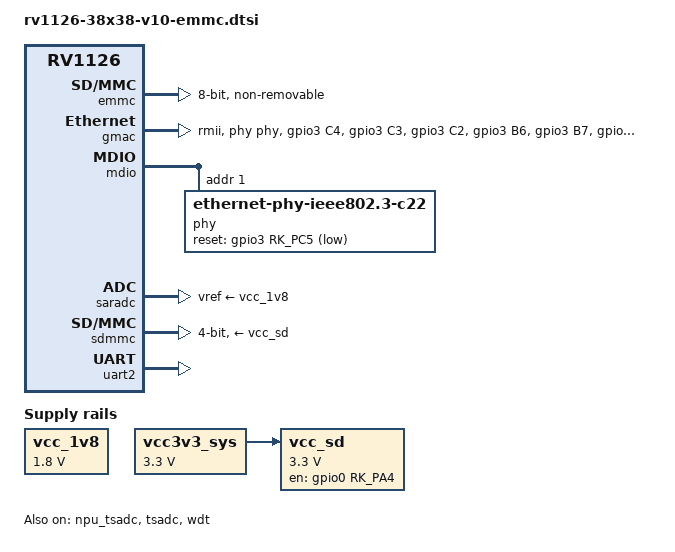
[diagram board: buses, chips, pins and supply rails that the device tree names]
// SPDX-License-Identifier: (GPL-2.0+ OR MIT)
/*
 * Copyright (c) 2020 Rockchip Electronics Co., Ltd.
 */

#include "rockchip/rv1126.dtsi"

/ {
	aliases {
		ethernet0 = &gmac;
		gpio0 = &gpio0;
		gpio1 = &gpio1;
		gpio2 = &gpio2;
		gpio3 = &gpio3;
		gpio4 = &gpio4;
		mmc0 = &emmc;
		mmc1 = &sdmmc;
	};

	chosen {
		bootargs = "earlycon=uart8250,mmio32,0xff570000 console=ttyS2,1500000 root=PARTUUID=614e0000-0000 rootwait";
		stdout-path = "serial2:1500000n8";
	};

	vcc_1v8: regulator-vcc-1v8 {
		compatible = "regulator-fixed";
		regulator-name = "vcc_1v8";
		regulator-always-on;
		regulator-boot-on;
		regulator-min-microvolt = <1800000>;
		regulator-max-microvolt = <1800000>;
	};

	vcc3v3_sys: regulator-vcc3v3-sys {
		compatible = "regulator-fixed";
		regulator-name = "vcc3v3_sys";
		regulator-always-on;
		regulator-boot-on;
		regulator-min-microvolt = <3300000>;
		regulator-max-microvolt = <3300000>;
	};

	vcc_sd: regulator-vcc-sd {
		compatible = "regulator-fixed";
		enable-active-high;
		gpios = <&gpio0 RK_PA4 GPIO_ACTIVE_HIGH>;
		pinctrl-names = "default";
		pinctrl-0 = <&sdmmc_pwr>;
		regulator-name = "vcc_sd";
		regulator-min-microvolt = <3300000>;
		regulator-max-microvolt = <3300000>;
		startup-delay-us = <100000>;
		vin-supply = <&vcc3v3_sys>;
	};
};

&emmc {
	bus-width = <8>;
	cap-mmc-highspeed;
	mmc-hs200-1_8v;
	non-removable;
	pinctrl-names = "default";
	pinctrl-0 = <&emmc_clk &emmc_cmd &emmc_bus8>;
	rockchip,default-sample-phase = <90>;
	status = "okay";
};

&gmac {
	assigned-clocks = <&cru CLK_GMAC_SRC_M0>, <&cru CLK_GMAC_SRC>,
			  <&cru CLK_GMAC_TX_RX>;
	assigned-clock-parents = <&cru CLK_GMAC_RGMII_M0>,
				 <&cru CLK_GMAC_SRC_M0>,
				 <&cru RMII_MODE_CLK>;
	assigned-clock-rates = <0>, <50000000>;
	clock_in_out = "output";
	phy-handle = <&phy>;
	phy-mode = "rmii";
	pinctrl-names = "default";
	pinctrl-0 = <&rmiim0_miim &rmiim0_rxer &rmiim0_bus2
		     &rmiim0_clkinout>;
	status = "okay";
};

&mdio {
	phy: ethernet-phy@1 {
		compatible = "ethernet-phy-ieee802.3-c22";
		reg = <1>;
		reset-assert-us = <50000>;
		reset-deassert-us = <10000>;
		reset-gpios = <&gpio3 RK_PC5 GPIO_ACTIVE_LOW>;
	};
};

&npu_tsadc {
	status = "okay";
};

&pinctrl {
	ethernet {
		rmiim0_miim: rmiim0-miim {
			rockchip,pins =
				<3 RK_PC4 2 &pcfg_pull_none_drv_level_0>,
				<3 RK_PC3 2 &pcfg_pull_none>;
		};

		rmiim0_rxer: rmiim0-rxer {
			rockchip,pins =
				<3 RK_PC2 2 &pcfg_pull_none>;
		};

		rmiim0_bus2: rmiim0-bus2 {
			rockchip,pins =
				<3 RK_PB6 2 &pcfg_pull_none>,
				<3 RK_PB7 2 &pcfg_pull_none>,
				<3 RK_PC1 2 &pcfg_pull_none>,
				<3 RK_PB3 2 &pcfg_pull_none_drv_level_0>,
				<3 RK_PB4 2 &pcfg_pull_none_drv_level_0>,
				<3 RK_PB5 2 &pcfg_pull_none_drv_level_0>;
		};

		rmiim0_clkinout: rmiim0-clkinout {
			rockchip,pins =
				<3 RK_PC0 2 &pcfg_pull_none>;
		};
	};

	sdmmc-pwr {
		sdmmc_pwr: sdmmc-pwr {
			rockchip,pins = <0 RK_PA4 RK_FUNC_GPIO &pcfg_pull_none>;
		};
	};
};

&pmu_io_domains {
	pmuio0-supply = <&vcc3v3_sys>;
	pmuio1-supply = <&vcc3v3_sys>;
	vccio2-supply = <&vcc3v3_sys>;
	vccio3-supply = <&vcc3v3_sys>;
	vccio4-supply = <&vcc_1v8>;
	vccio5-supply = <&vcc3v3_sys>;
	vccio6-supply = <&vcc3v3_sys>;
	vccio7-supply = <&vcc3v3_sys>;
	status = "okay";
};

&saradc {
	vref-supply = <&vcc_1v8>;
	status = "okay";
};

&sdmmc {
	bus-width = <4>;
	cap-mmc-highspeed;
	cap-sd-highspeed;
	card-detect-delay = <200>;
	pinctrl-names = "default";
	pinctrl-0 = <&sdmmc0_clk &sdmmc0_cmd &sdmmc0_det &sdmmc0_bus4>;
	rockchip,default-sample-phase = <90>;
	vmmc-supply = <&vcc_sd>;
	status = "okay";
};

&sdmmc0_bus4 {
	rockchip,pins =
		<1 RK_PA4 1 &pcfg_pull_up_drv_level_0>,
		<1 RK_PA5 1 &pcfg_pull_up_drv_level_0>,
		<1 RK_PA6 1 &pcfg_pull_up_drv_level_0>,
		<1 RK_PA7 1 &pcfg_pull_up_drv_level_0>;
};

&sdmmc0_clk {
	rockchip,pins =
		<1 RK_PB0 1 &pcfg_pull_up_drv_level_3>;
};

&sdmmc0_cmd {
	rockchip,pins =
		<1 RK_PB1 1 &pcfg_pull_up_drv_level_0>;
};

&tsadc {
	status = "okay";
};

&uart2 {
	status = "okay";
};

&wdt {
	status = "okay";
};
